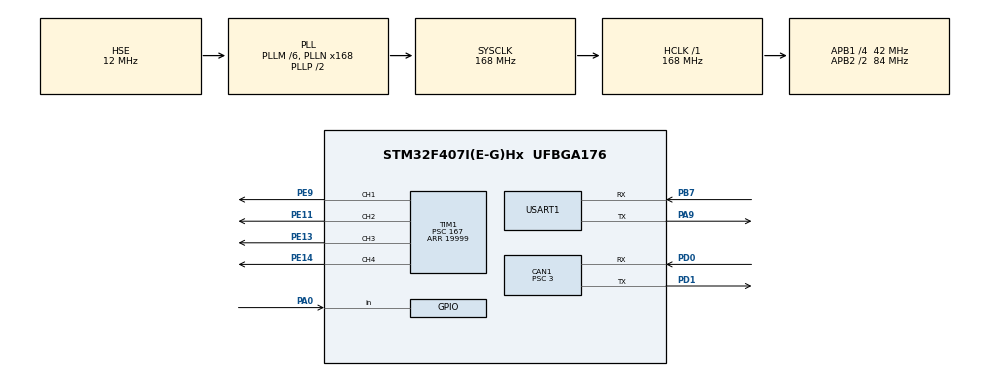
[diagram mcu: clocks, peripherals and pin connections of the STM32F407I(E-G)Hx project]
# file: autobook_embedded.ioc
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CAN1.BS1=CAN_BS1_10TQ
CAN1.BS2=CAN_BS2_3TQ
CAN1.CalculateBaudRate=1000000
CAN1.CalculateTimeBit=1000
CAN1.CalculateTimeQuantum=71.42857142857143
CAN1.Prescaler=3
Dma.Request0=USART1_RX
Dma.USART1_RX.0.Direction=DMA_PERIPH_TO_MEMORY
Dma.USART1_RX.0.FIFOMode=DMA_FIFOMODE_DISABLE
Dma.USART1_RX.0.Instance=DMA2_Stream2
Dma.USART1_RX.0.MemDataAlignment=DMA_MDATAALIGN_BYTE
Dma.USART1_RX.0.MemInc=DMA_MINC_ENABLE
Dma.USART1_RX.0.Mode=DMA_NORMAL
Dma.USART1_RX.0.PeriphDataAlignment=DMA_PDATAALIGN_BYTE
Dma.USART1_RX.0.PeriphInc=DMA_PINC_DISABLE
Dma.USART1_RX.0.Priority=DMA_PRIORITY_LOW
FREERTOS.Tasks01=LibraryHandler,32,512,StartLibraryHandler,Default,NULL,Dynamic,NULL,NULL;MainTask,24,2048,StartMainTask,Default,NULL,Dynamic,NULL,NULL;UartTast,8,128,StartUartTask,Default,NULL,Dynamic,NULL,NULL
Mcu.Family=STM32F4
Mcu.Name=STM32F407I(E-G)Hx
Mcu.Package=UFBGA176
NVIC.CAN1_RX0_IRQn=true\:5\:0\:false\:false\:true\:true\:true\:true\:true
NVIC.DMA2_Stream2_IRQn=true\:5\:0\:false\:false\:true\:true\:false\:true\:true
NVIC.PriorityGroup=NVIC_PRIORITYGROUP_4
NVIC.USART1_IRQn=true\:5\:0\:false\:false\:true\:true\:true\:true\:true
PA0-WKUP.GPIO_PuPd=GPIO_PULLUP
PA0-WKUP.Signal=GPIO_Input
PA9.Mode=Asynchronous
PA9.Signal=USART1_TX
PB7.Mode=Asynchronous
PB7.Signal=USART1_RX
PD0.Mode=CAN_Activate
PD0.Signal=CAN1_RX
PD1.Mode=CAN_Activate
PD1.Signal=CAN1_TX
PE11.Signal=S_TIM1_CH2
PE13.Signal=S_TIM1_CH3
PE14.Signal=S_TIM1_CH4
PE9.Signal=S_TIM1_CH1
PH0-OSC_IN.Mode=HSE-External-Oscillator
PH0-OSC_IN.Signal=RCC_OSC_IN
PH1-OSC_OUT.Mode=HSE-External-Oscillator
PH1-OSC_OUT.Signal=RCC_OSC_OUT
ProjectManager.HeapSize=0x200
ProjectManager.StackSize=0x400
ProjectManager.TargetToolchain=STM32CubeIDE
RCC.48MHZClocksFreq_Value=84000000
RCC.AHBFreq_Value=168000000
RCC.APB1CLKDivider=RCC_HCLK_DIV4
RCC.APB1Freq_Value=42000000
RCC.APB1TimFreq_Value=84000000
RCC.APB2CLKDivider=RCC_HCLK_DIV2
RCC.APB2Freq_Value=84000000
RCC.APB2TimFreq_Value=168000000
RCC.CortexFreq_Value=168000000
RCC.HCLKFreq_Value=168000000
RCC.HSE_VALUE=12000000
RCC.HSI_VALUE=16000000
RCC.LSE_VALUE=32768
RCC.PLLM=6
RCC.PLLN=168
RCC.PLLSourceVirtual=RCC_PLLSOURCE_HSE
RCC.SYSCLKFreq_VALUE=168000000
RCC.SYSCLKSource=RCC_SYSCLKSOURCE_PLLCLK
RCC.VCOOutputFreq_Value=336000000
SH.S_TIM1_CH1.0=TIM1_CH1,PWM Generation1 CH1
SH.S_TIM1_CH2.0=TIM1_CH2,PWM Generation2 CH2
SH.S_TIM1_CH3.0=TIM1_CH3,PWM Generation3 CH3
SH.S_TIM1_CH4.0=TIM1_CH4,PWM Generation4 CH4
TIM1.AutoReloadPreload=TIM_AUTORELOAD_PRELOAD_ENABLE
TIM1.Channel-PWM\ Generation1\ CH1=TIM_CHANNEL_1
TIM1.Channel-PWM\ Generation2\ CH2=TIM_CHANNEL_2
TIM1.Channel-PWM\ Generation3\ CH3=TIM_CHANNEL_3
TIM1.Channel-PWM\ Generation4\ CH4=TIM_CHANNEL_4
TIM1.Period=19999
TIM1.Prescaler=167
USART1.VirtualMode=VM_ASYNC
VP_FREERTOS_VS_CMSIS_V2.Mode=CMSIS_V2
board=custom

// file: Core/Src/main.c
/* USER CODE BEGIN Header */
/**
  ******************************************************************************
  * @file           : main.c
  * @brief          : Main program body
  ******************************************************************************
  * @attention
  *
  * Copyright (c) 2026 STMicroelectronics.
  * All rights reserved.
  *
  * This software is licensed under terms that can be found in the LICENSE file
  * in the root directory of this software component.
  * If no LICENSE file comes with this software, it is provided AS-IS.
  *
  ******************************************************************************
  */
/* USER CODE END Header */
#include "main.h"
#include "cmsis_os.h"

/* USER CODE BEGIN Includes */
#include "gm6020.h"
#include "FreeRTOS.h"
#include "task.h"

/* USER CODE END Includes */

/* USER CODE BEGIN PTD */
typedef enum {
  BOOK_STATE_1 = 1,
  BOOK_STATE_2 = 2,
  BOOK_STATE_3 = 3,
  BOOK_STATE_4 = 4,
  BOOK_STATE_5 = 5,
  BOOK_STATE_6 = 6,
  BOOK_STATE_7 = 7
} BookDeviceState;

typedef struct {
  uint32_t command;
  uint32_t requestId;
} BookUartCommand;

typedef struct {
  uint32_t requestId;
  const char *status;
  const char *reason;
} BookUartStatus;

/* USER CODE END PTD */

/* USER CODE BEGIN PD */
#define BOOK_UART_RUN_COMMAND 50U
/* Independently tune each automatic transition delay (milliseconds). */
#define BOOK_STATE_2_TO_3_MS 1000U
#define BOOK_STATE_3_TO_4_MS 1000U
#define BOOK_STATE_4_TO_5_MS 1000U
#define BOOK_STATE_5_TO_6_MS 1000U
#define BOOK_UART_RX_BUFFER_SIZE 128U
#define BOOK_UART_STATUS_CAPACITY 16U

/* USER CODE END PD */

CAN_HandleTypeDef hcan1;

TIM_HandleTypeDef htim1;

UART_HandleTypeDef huart1;
DMA_HandleTypeDef hdma_usart1_rx;

/* Definitions for LibraryHandler */
osThreadId_t LibraryHandlerHandle;
const osThreadAttr_t LibraryHandler_attributes = {
  .name = "LibraryHandler",
  .stack_size = 512 * 4,
  .priority = (osPriority_t) osPriorityAboveNormal,
};
/* Definitions for MainTask */
osThreadId_t MainTaskHandle;
const osThreadAttr_t MainTask_attributes = {
  .name = "MainTask",
  .stack_size = 2048 * 4,
  .priority = (osPriority_t) osPriorityNormal,
};
/* Definitions for UartTast */
osThreadId_t UartTastHandle;
const osThreadAttr_t UartTast_attributes = {
  .name = "UartTast",
  .stack_size = 256 * 4,
  .priority = (osPriority_t) osPriorityLow,
};
/* USER CODE BEGIN PV */
volatile bool bookSequenceActive = false;
volatile bool bookSequenceStartRejected = false;
volatile uint32_t bookLastUartCommand = 0;
static uint32_t bookSequenceStateStartedMs;
static uint32_t bookSequenceRequestId;
static BookUartStatus bookUartStatusQueue[BOOK_UART_STATUS_CAPACITY];
static uint8_t bookUartStatusHead, bookUartStatusTail, bookUartStatusCount;
static bool bookUartTxNeedsResync;
static uint8_t bookUartRxByte;
static volatile uint8_t bookUartRxBuffer[BOOK_UART_RX_BUFFER_SIZE];
static volatile uint16_t bookUartRxHead, bookUartRxTail;
static volatile bool bookUartRxOverflow, bookUartRxNeedsRearm;
volatile uint32_t bookUartRxErrors = 0;
volatile BookDeviceState bookDeviceState = BOOK_STATE_1;
volatile bool bookStateActionAccepted = true;
/* Watch these in the debugger while tuning the clamp. Raw counts, not N*m. */
volatile int16_t clampExampleCurrentRaw = 0;
volatile uint16_t clampExamplePeakRaw = 0;
volatile GM6020_ClampState clampExampleState = GM6020_CLAMP_IDLE;
volatile bool clampExampleStarted = false;
volatile bool clampExampleStartRejected = false;
volatile bool clampExampleFinished = false;
volatile float clampExampleTargetRPM = 0.0f;

/* USER CODE END PV */

void SystemClock_Config(void);
static void MX_GPIO_Init(void);
static void MX_DMA_Init(void);
static void MX_CAN1_Init(void);
static void MX_USART1_UART_Init(void);
static void MX_TIM1_Init(void);
void StartLibraryHandler(void *argument);
void StartMainTask(void *argument);
void StartUartTask(void *argument);

/* USER CODE BEGIN PFP */
static bool RunBookClamp(float closingRPM);
static void UpdateBookClampStatus(void);
static void EnterBookState(BookDeviceState state);
static bool ReadUartCommand(BookUartCommand *command);
static void ServiceBookSequence(uint32_t now);

/* USER CODE END PFP */

int main(void)
{

  /* MCU Configuration--------------------------------------------------------*/

  /* Reset of all peripherals, Initializes the Flash interface and the Systick. */
  HAL_Init();

  /* Configure the system clock */
  SystemClock_Config();

  /* Initialize all configured peripherals */
  MX_GPIO_Init();
  MX_DMA_Init();
  MX_CAN1_Init();
  MX_USART1_UART_Init();
  MX_TIM1_Init();
  /* USER CODE BEGIN 2 */
  if (GM6020_InitBus(1, &hcan1, GM6020_VOLTAGE) != HAL_OK)
  {
    Error_Handler();
  }

  /* One-byte interrupt reception stays active while UART TX runs. */
  if (HAL_UART_Receive_IT(&huart1, &bookUartRxByte, 1) != HAL_OK)
    Error_Handler();
  /* USER CODE END 2 */

  /* Init scheduler */
  osKernelInitialize();

  /* Create the thread(s) */
  /* creation of LibraryHandler */
  LibraryHandlerHandle = osThreadNew(StartLibraryHandler, NULL, &LibraryHandler_attributes);

  /* creation of MainTask */
  MainTaskHandle = osThreadNew(StartMainTask, NULL, &MainTask_attributes);

  /* creation of UartTast */
  UartTastHandle = osThreadNew(StartUartTask, NULL, &UartTast_attributes);

  /* Start scheduler */
  osKernelStart();

  /* We should never get here as control is now taken by the scheduler */

  /* Infinite loop */
  while (1)
  {

  }
}

void SystemClock_Config(void)
{
  RCC_OscInitTypeDef RCC_OscInitStruct = {0};
  RCC_ClkInitTypeDef RCC_ClkInitStruct = {0};

  /** Configure the main internal regulator output voltage
  */
  __HAL_RCC_PWR_CLK_ENABLE();
  __HAL_PWR_VOLTAGESCALING_CONFIG(PWR_REGULATOR_VOLTAGE_SCALE1);

  /** Initializes the RCC Oscillators according to the specified parameters
  * in the RCC_OscInitTypeDef structure.
  */
  RCC_OscInitStruct.OscillatorType = RCC_OSCILLATORTYPE_HSE;
  RCC_OscInitStruct.HSEState = RCC_HSE_ON;
  RCC_OscInitStruct.PLL.PLLState = RCC_PLL_ON;
  RCC_OscInitStruct.PLL.PLLSource = RCC_PLLSOURCE_HSE;
  RCC_OscInitStruct.PLL.PLLM = 6;
  RCC_OscInitStruct.PLL.PLLN = 168;
  RCC_OscInitStruct.PLL.PLLP = RCC_PLLP_DIV2;
  RCC_OscInitStruct.PLL.PLLQ = 4;
  if (HAL_RCC_OscConfig(&RCC_OscInitStruct) != HAL_OK)
  {
    Error_Handler();
  }

  /** Initializes the CPU, AHB and APB buses clocks
  */
  RCC_ClkInitStruct.ClockType = RCC_CLOCKTYPE_HCLK|RCC_CLOCKTYPE_SYSCLK
                              |RCC_CLOCKTYPE_PCLK1|RCC_CLOCKTYPE_PCLK2;
  RCC_ClkInitStruct.SYSCLKSource = RCC_SYSCLKSOURCE_PLLCLK;
  RCC_ClkInitStruct.AHBCLKDivider = RCC_SYSCLK_DIV1;
  RCC_ClkInitStruct.APB1CLKDivider = RCC_HCLK_DIV4;
  RCC_ClkInitStruct.APB2CLKDivider = RCC_HCLK_DIV2;

  if (HAL_RCC_ClockConfig(&RCC_ClkInitStruct, FLASH_LATENCY_5) != HAL_OK)
  {
    Error_Handler();
  }
}

static void MX_CAN1_Init(void)
{

  hcan1.Instance = CAN1;
  hcan1.Init.Prescaler = 3;
  hcan1.Init.Mode = CAN_MODE_NORMAL;
  hcan1.Init.SyncJumpWidth = CAN_SJW_1TQ;
  hcan1.Init.TimeSeg1 = CAN_BS1_10TQ;
  hcan1.Init.TimeSeg2 = CAN_BS2_3TQ;
  hcan1.Init.TimeTriggeredMode = DISABLE;
  hcan1.Init.AutoBusOff = DISABLE;
  hcan1.Init.AutoWakeUp = DISABLE;
  hcan1.Init.AutoRetransmission = DISABLE;
  hcan1.Init.ReceiveFifoLocked = DISABLE;
  hcan1.Init.TransmitFifoPriority = DISABLE;
  if (HAL_CAN_Init(&hcan1) != HAL_OK)
  {
    Error_Handler();
  }

}

static void MX_TIM1_Init(void)
{

  TIM_MasterConfigTypeDef sMasterConfig = {0};
  TIM_OC_InitTypeDef sConfigOC = {0};
  TIM_BreakDeadTimeConfigTypeDef sBreakDeadTimeConfig = {0};

  htim1.Instance = TIM1;
  htim1.Init.Prescaler = 167;
  htim1.Init.CounterMode = TIM_COUNTERMODE_UP;
  htim1.Init.Period = 19999;
  htim1.Init.ClockDivision = TIM_CLOCKDIVISION_DIV1;
  htim1.Init.RepetitionCounter = 0;
  htim1.Init.AutoReloadPreload = TIM_AUTORELOAD_PRELOAD_ENABLE;
  if (HAL_TIM_PWM_Init(&htim1) != HAL_OK)
  {
    Error_Handler();
  }
  sMasterConfig.MasterOutputTrigger = TIM_TRGO_RESET;
  sMasterConfig.MasterSlaveMode = TIM_MASTERSLAVEMODE_DISABLE;
  if (HAL_TIMEx_MasterConfigSynchronization(&htim1, &sMasterConfig) != HAL_OK)
  {
    Error_Handler();
  }
  sConfigOC.OCMode = TIM_OCMODE_PWM1;
  sConfigOC.Pulse = 0;
  sConfigOC.OCPolarity = TIM_OCPOLARITY_HIGH;
  sConfigOC.OCNPolarity = TIM_OCNPOLARITY_HIGH;
  sConfigOC.OCFastMode = TIM_OCFAST_DISABLE;
  sConfigOC.OCIdleState = TIM_OCIDLESTATE_RESET;
  sConfigOC.OCNIdleState = TIM_OCNIDLESTATE_RESET;
  if (HAL_TIM_PWM_ConfigChannel(&htim1, &sConfigOC, TIM_CHANNEL_1) != HAL_OK)
  {
    Error_Handler();
  }
  if (HAL_TIM_PWM_ConfigChannel(&htim1, &sConfigOC, TIM_CHANNEL_2) != HAL_OK)
  {
    Error_Handler();
  }
  if (HAL_TIM_PWM_ConfigChannel(&htim1, &sConfigOC, TIM_CHANNEL_3) != HAL_OK)
  {
    Error_Handler();
  }
  if (HAL_TIM_PWM_ConfigChannel(&htim1, &sConfigOC, TIM_CHANNEL_4) != HAL_OK)
  {
    Error_Handler();
  }
  sBreakDeadTimeConfig.OffStateRunMode = TIM_OSSR_DISABLE;
  sBreakDeadTimeConfig.OffStateIDLEMode = TIM_OSSI_DISABLE;
  sBreakDeadTimeConfig.LockLevel = TIM_LOCKLEVEL_OFF;
  sBreakDeadTimeConfig.DeadTime = 0;
  sBreakDeadTimeConfig.BreakState = TIM_BREAK_DISABLE;
  sBreakDeadTimeConfig.BreakPolarity = TIM_BREAKPOLARITY_HIGH;
  sBreakDeadTimeConfig.AutomaticOutput = TIM_AUTOMATICOUTPUT_DISABLE;
  if (HAL_TIMEx_ConfigBreakDeadTime(&htim1, &sBreakDeadTimeConfig) != HAL_OK)
  {
    Error_Handler();
  }
  HAL_TIM_MspPostInit(&htim1);

}

static void MX_USART1_UART_Init(void)
{

  huart1.Instance = USART1;
  huart1.Init.BaudRate = 115200;
  huart1.Init.WordLength = UART_WORDLENGTH_8B;
  huart1.Init.StopBits = UART_STOPBITS_1;
  huart1.Init.Parity = UART_PARITY_NONE;
  huart1.Init.Mode = UART_MODE_TX_RX;
  huart1.Init.HwFlowCtl = UART_HWCONTROL_NONE;
  huart1.Init.OverSampling = UART_OVERSAMPLING_16;
  if (HAL_UART_Init(&huart1) != HAL_OK)
  {
    Error_Handler();
  }

}

static void MX_DMA_Init(void)
{

  /* DMA controller clock enable */
  __HAL_RCC_DMA2_CLK_ENABLE();

  /* DMA interrupt init */
  /* DMA2_Stream2_IRQn interrupt configuration */
  HAL_NVIC_SetPriority(DMA2_Stream2_IRQn, 5, 0);
  HAL_NVIC_EnableIRQ(DMA2_Stream2_IRQn);

}

static void MX_GPIO_Init(void)
{
  GPIO_InitTypeDef GPIO_InitStruct = {0};

  /* GPIO Ports Clock Enable */
  __HAL_RCC_GPIOB_CLK_ENABLE();
  __HAL_RCC_GPIOD_CLK_ENABLE();
  __HAL_RCC_GPIOA_CLK_ENABLE();
  __HAL_RCC_GPIOH_CLK_ENABLE();
  __HAL_RCC_GPIOE_CLK_ENABLE();

  /*Configure GPIO pin : PA0 */
  GPIO_InitStruct.Pin = GPIO_PIN_0;
  GPIO_InitStruct.Mode = GPIO_MODE_INPUT;
  GPIO_InitStruct.Pull = GPIO_PULLUP;
  HAL_GPIO_Init(GPIOA, &GPIO_InitStruct);

}

/* USER CODE BEGIN 4 */
/* Book clamp helpers: no button handling or direction toggling here. */
static bool RunBookClamp(float closingRPM)
{
  const float pid[3] = {55.0f, 0.01f, 0.0f};
  const GM6020_ClampConfig config = {
    .threshold_raw = 2500,
    .confirm_ms = 5,
    .max_run_ms = 3000,   /* 3-second closure limit. */
    .command_limit = 10000
  };
  const bool started = start6020Clamp(1, 2, closingRPM, pid, &config);
  clampExampleStartRejected = !started;
  if (started)
  {
    clampExampleStarted = true;
    clampExampleFinished = false;
    clampExampleState = GM6020_CLAMP_RUNNING;
    clampExamplePeakRaw = 0;
    clampExampleTargetRPM = closingRPM;
  }
  else if (!clampExampleStarted)
  {
    (void)stop6020(1, 2);
    clampExampleState = GM6020_CLAMP_STOPPED;
    clampExampleFinished = true;
  }
  /* A rejected restart preserves the previous run/stop and its debug state. */
  return started;
}

static void UpdateBookClampStatus(void)
{
  GM6020_Feedback feedback;
  if (get6020Feedback(1, 2, &feedback) && feedback.online)
    clampExampleCurrentRaw = feedback.current_raw;
  if (clampExampleStarted)
  {
    GM6020_ClampStatus status;
    if (get6020ClampStatus(1, 2, &status))
    {
      clampExampleState = status.state;
      clampExamplePeakRaw = status.peak_current_raw;
      clampExampleFinished = status.state != GM6020_CLAMP_RUNNING;
    }
  }
}

/* Apply outputs once on entry. Button handling remains in MainTask.
 * State 2 starts a guarded +60 RPM run; contact/faults do not advance state. */
static void EnterBookState(BookDeviceState state)
{
  uint16_t pulse1, pulse2, pulse3, pulse4;
  switch (state)
  {
    case BOOK_STATE_2:
      pulse1 = 2100, pulse2 = 1600; pulse3 = 1400; pulse4 = 800; // side servos clamp down on book
      break;
    case BOOK_STATE_3:
      pulse1 = 1000, pulse2 = 1600; pulse3 = 1400; pulse4 = 800; // page gripping servo exposes a page
      break;
    case BOOK_STATE_4:
      pulse1 = 1000, pulse2 = 1600; pulse3 = 1400; pulse4 = 1800; // wiper servo flips the page
      break;
    case BOOK_STATE_5:
      pulse1 = 1000, pulse2 = 1600; pulse3 = 2100; pulse4 = 1800; //the outer page gripping servo opens up
      break;
    case BOOK_STATE_6:
      pulse1 = 1000, pulse2 = 1600; pulse3 = 1400; pulse4 = 1800; // ... then clamps down on the new page
      break;
    case BOOK_STATE_1:
    default:
      state = BOOK_STATE_1; // Initial position, all servos opened up
      pulse1 = 2100, pulse2 = 1200; pulse3 = 1800; pulse4 = 800;
      break;
  }

  if (state != BOOK_STATE_2)
  {
    bookStateActionAccepted = stop6020(1, 2);
    clampExampleStarted = false;
    clampExampleStartRejected = false;
    clampExampleFinished = true;
    clampExampleTargetRPM = 0.0f;
    clampExampleState = GM6020_CLAMP_STOPPED;
  }

  __HAL_TIM_SET_COMPARE(&htim1, TIM_CHANNEL_1, pulse1);
  __HAL_TIM_SET_COMPARE(&htim1, TIM_CHANNEL_2, pulse2);
  __HAL_TIM_SET_COMPARE(&htim1, TIM_CHANNEL_3, pulse3);
  __HAL_TIM_SET_COMPARE(&htim1, TIM_CHANNEL_4, pulse4);
  bookDeviceState = state;

  if (state == BOOK_STATE_2)
    bookStateActionAccepted = RunBookClamp(60.0f);
}

static bool CanReadBookCommand(void)
{
  taskENTER_CRITICAL();
  /* Keep a terminal reply slot available throughout an accepted sequence. */
  const bool available = bookUartStatusCount <= BOOK_UART_STATUS_CAPACITY - 2U;
  taskEXIT_CRITICAL();
  return available;
}

static void QueueBookStatus(const char *status, uint32_t requestId, const char *reason)
{
  const BookUartStatus message = {requestId, status, reason};
  taskENTER_CRITICAL();
  bookUartStatusQueue[bookUartStatusHead] = message;
  bookUartStatusHead = (uint8_t)((bookUartStatusHead + 1U) % BOOK_UART_STATUS_CAPACITY);
  ++bookUartStatusCount;
  taskEXIT_CRITICAL();
}

static void HandleBookCommand(const BookUartCommand *command)
{
  bookLastUartCommand = command->command;
  if (command->command != BOOK_UART_RUN_COMMAND) return;
  if (bookSequenceActive)
  {
    QueueBookStatus("BUSY", command->requestId, NULL);
    return;
  }
  EnterBookState(BOOK_STATE_2);
  bookSequenceStartRejected = !bookStateActionAccepted;
  bookSequenceActive = bookStateActionAccepted;
  bookSequenceStateStartedMs = HAL_GetTick();
  bookSequenceRequestId = command->requestId;
  QueueBookStatus(bookSequenceActive ? "ACK" : "ERROR", command->requestId,
                  bookSequenceActive ? NULL : "START_REJECTED");
}

static const char *BookClampFailure(void)
{
  GM6020_ClampStatus status;
  if (!get6020ClampStatus(1, 2, &status)) return "FEEDBACK_LOST";
  switch (status.state)
  {
    case GM6020_CLAMP_FEEDBACK_LOST: return "FEEDBACK_LOST";
    case GM6020_CLAMP_TIMEOUT: return "TIMEOUT";
    case GM6020_CLAMP_SERVICE_LATE: return "SERVICE_LATE";
    default: return NULL;
  }
}

static void AbortBookSequence(const char *reason)
{
  (void)stop6020(1, 2);
  bookSequenceActive = false;
  QueueBookStatus("ERROR", bookSequenceRequestId, reason);
}

/* Start/service the automatic sequence only from MainTask. */
static void ServiceBookSequence(uint32_t now)
{
  if (!bookSequenceActive) return;

  if (bookDeviceState == BOOK_STATE_2)
  {
    const char *reason = BookClampFailure();
    if (reason != NULL)
    {
      AbortBookSequence(reason);
      return;
    }
  }

  uint32_t delayMs;
  switch (bookDeviceState)
  {
    case BOOK_STATE_2: delayMs = BOOK_STATE_2_TO_3_MS; break;
    case BOOK_STATE_3: delayMs = BOOK_STATE_3_TO_4_MS; break;
    case BOOK_STATE_4: delayMs = BOOK_STATE_4_TO_5_MS; break;
    case BOOK_STATE_5: delayMs = BOOK_STATE_5_TO_6_MS; break;
    default: AbortBookSequence("INVALID_STATE"); return;
  }
  if ((uint32_t)(now - bookSequenceStateStartedMs) < delayMs) return;

  /* Timer-only transitions. State 3 stops drive before changing servo outputs. */
  if (bookDeviceState == BOOK_STATE_2)
  {
    /* Do not let the motor service set a fault between the check and stop. */
    taskENTER_CRITICAL();
    const char *reason = BookClampFailure();
    if (reason == NULL) EnterBookState(BOOK_STATE_3);
    taskEXIT_CRITICAL();
    if (reason != NULL) { AbortBookSequence(reason); return; }
  }
  else EnterBookState((BookDeviceState)(bookDeviceState + 1));
  bookSequenceStateStartedMs = HAL_GetTick();
  if (!bookStateActionAccepted) AbortBookSequence("STOP_REJECTED");
  else if (bookDeviceState == BOOK_STATE_6)
  {
    bookSequenceActive = false;
    QueueBookStatus("DONE", bookSequenceRequestId, NULL);
  }
}

/* UART command input: command and optional request ID, terminated by CR or LF.
 * Call from exactly one task. No blocking receive or heap allocation.
 * Invalid/overflowed lines are discarded in full, rather than partly parsed. */
static bool ReadUartCommand(BookUartCommand *command)
{
  static uint32_t parsed, parsedCommand;
  static uint8_t digits;
  static bool discardLine, readingId;
  if (command == NULL) return false;

  /* Recover interrupt reception after a HAL error without blocking a task. */
  taskENTER_CRITICAL();
  if (bookUartRxNeedsRearm &&
      HAL_UART_Receive_IT(&huart1, &bookUartRxByte, 1) == HAL_OK)
    bookUartRxNeedsRearm = false;
  taskEXIT_CRITICAL();

  for (unsigned n = 0; n < BOOK_UART_RX_BUFFER_SIZE; ++n)
  {
    uint8_t byte;
    taskENTER_CRITICAL();
    if (bookUartRxOverflow)
    {
      /* Flush queued fragments. Resume after the next received line ending. */
      bookUartRxTail = bookUartRxHead;
      bookUartRxOverflow = false;
      parsed = 0; parsedCommand = 0; digits = 0; readingId = false; discardLine = true;
    }
    if (bookUartRxTail == bookUartRxHead)
    {
      taskEXIT_CRITICAL();
      return false;
    }
    byte = bookUartRxBuffer[bookUartRxTail];
    bookUartRxTail = (uint16_t)((bookUartRxTail + 1U) % BOOK_UART_RX_BUFFER_SIZE);
    taskEXIT_CRITICAL();

    if (byte == '\r' || byte == '\n')
    {
      const bool accepted = digits != 0 && !discardLine;
      const BookUartCommand result = {readingId ? parsedCommand : parsed,
                                      readingId ? parsed : 0U};
      parsed = 0; parsedCommand = 0; digits = 0; discardLine = false; readingId = false;
      if (accepted) { *command = result; return true; }
    }
    else if (!discardLine)
    {
      if (byte == ' ' && digits != 0U && !readingId)
      {
        parsedCommand = parsed; parsed = 0; digits = 0; readingId = true;
      }
      else if (byte < '0' || byte > '9' || digits >= 10U ||
          parsed > (UINT32_MAX - (uint32_t)(byte - '0')) / 10U)
        discardLine = true;
      else { parsed = parsed * 10U + (uint32_t)(byte - '0'); ++digits; }
    }
  }
  return false;
}

void HAL_UART_RxCpltCallback(UART_HandleTypeDef *uart)
{
  if (uart != &huart1) return;
  const uint16_t next = (uint16_t)((bookUartRxHead + 1U) % BOOK_UART_RX_BUFFER_SIZE);
  if (next == bookUartRxTail) bookUartRxOverflow = true;
  else
  {
    bookUartRxBuffer[bookUartRxHead] = bookUartRxByte;
    bookUartRxHead = next;
  }
  bookUartRxNeedsRearm = HAL_UART_Receive_IT(uart, &bookUartRxByte, 1) != HAL_OK;
}

void HAL_UART_ErrorCallback(UART_HandleTypeDef *uart)
{
  if (uart != &huart1) return;
  ++bookUartRxErrors;
  bookUartRxOverflow = true; /* Drop a command potentially corrupted by error. */
  bookUartRxNeedsRearm = HAL_UART_Receive_IT(uart, &bookUartRxByte, 1) != HAL_OK;
}

void HAL_CAN_RxFifo0MsgPendingCallback(CAN_HandleTypeDef *can)
{
  CAN_RxHeaderTypeDef header;
  uint8_t data[8];
  while (HAL_CAN_GetRxFifoFillLevel(can, CAN_RX_FIFO0) != 0)
  {
    if (HAL_CAN_GetRxMessage(can, CAN_RX_FIFO0, &header, data) != HAL_OK) break;
    GM6020_OnRx(can, &header, data);
  }
}

uint16_t motorPos;

/* USER CODE END 4 */

void StartLibraryHandler(void *argument)
{
  /* USER CODE BEGIN 5 */
  TickType_t wake = xTaskGetTickCount();
  for (;;)
  {
    GM6020_Service();
    vTaskDelayUntil(&wake, pdMS_TO_TICKS(1));
  }
  /* USER CODE END 5 */
}

void StartMainTask(void *argument)
{
  /* USER CODE BEGIN StartMainTask */
  (void)argument;

  /* Load state 1 pulses before enabling the outputs; no clamp motion at boot. */
  EnterBookState(BOOK_STATE_1);
  if (HAL_TIM_PWM_Start(&htim1, TIM_CHANNEL_1) != HAL_OK ||
      HAL_TIM_PWM_Start(&htim1, TIM_CHANNEL_2) != HAL_OK ||
      HAL_TIM_PWM_Start(&htim1, TIM_CHANNEL_3) != HAL_OK ||
      HAL_TIM_PWM_Start(&htim1, TIM_CHANNEL_4) != HAL_OK)
    Error_Handler();

  /* PA0 pull-up: LOW is pressed. Ignore a button held during startup. */
  bool buttonSample = HAL_GPIO_ReadPin(GPIOA, GPIO_PIN_0) == GPIO_PIN_RESET;
  bool buttonStable = buttonSample;
  uint32_t buttonChangedMs = HAL_GetTick();

  for (;;)
  {
    const uint32_t now = HAL_GetTick();
    motorPos = get6020Pos(1, 2);
    BookUartCommand command;
    while (CanReadBookCommand() && ReadUartCommand(&command))
      HandleBookCommand(&command);
    ServiceBookSequence(HAL_GetTick());
    const bool pressed = HAL_GPIO_ReadPin(GPIOA, GPIO_PIN_0) == GPIO_PIN_RESET;
    if (pressed != buttonSample)
    {
      buttonSample = pressed;
      buttonChangedMs = now;
    }
    if (buttonSample != buttonStable && (uint32_t)(now - buttonChangedMs) >= 30U)
    {
      buttonStable = buttonSample;
      if (buttonStable && !bookSequenceActive)
      {
        /* Manual steps are ignored while the UART sequence runs. */
        const BookDeviceState next = bookDeviceState == BOOK_STATE_6 ?
            BOOK_STATE_2 : (BookDeviceState)(bookDeviceState + 1);
        EnterBookState(next);
      }
    }

    UpdateBookClampStatus();
    osDelay(5);
  }
  /* USER CODE END StartMainTask */
}

void StartUartTask(void *argument)
{
  /* USER CODE BEGIN StartUartTask */
  (void)argument;
  char uartBuff[64];
  /* Infinite loop */
  for(;;)
  {
    BookUartStatus message;
    taskENTER_CRITICAL();
    const bool hasStatus = bookUartStatusCount != 0U;
    if (hasStatus) message = bookUartStatusQueue[bookUartStatusTail];
    taskEXIT_CRITICAL();

    int length;
    if (hasStatus)
      length = snprintf(uartBuff, sizeof(uartBuff), "%s %lu%s%s\r\n",
                        message.status, (unsigned long)message.requestId,
                        message.reason != NULL ? " " : "",
                        message.reason != NULL ? message.reason : "");
    else if (motorPos == GM6020_INVALID_POSITION)
      length = snprintf(uartBuff, sizeof(uartBuff), "offline\r\n");
    else
      length = snprintf(uartBuff, sizeof(uartBuff), "%u\r\n", (unsigned)motorPos);

    if (length > 0 && (size_t)length < sizeof(uartBuff))
    {
      /* A failed blocking TX may leave a partial line on the host. */
      if (bookUartTxNeedsResync)
        bookUartTxNeedsResync = HAL_UART_Transmit(&huart1, (uint8_t *)"\r\n", 2, 10) != HAL_OK;
      if (!bookUartTxNeedsResync)
      {
        bookUartTxNeedsResync = HAL_UART_Transmit(&huart1, (uint8_t *)uartBuff,
                                                (uint16_t)length, 10) != HAL_OK;
        if (hasStatus && !bookUartTxNeedsResync)
        {
          taskENTER_CRITICAL();
          bookUartStatusTail = (uint8_t)((bookUartStatusTail + 1U) % BOOK_UART_STATUS_CAPACITY);
          --bookUartStatusCount;
          taskEXIT_CRITICAL();
        }
      }
    }
    osDelay(10);
  }
  /* USER CODE END StartUartTask */
}

void Error_Handler(void)
{
  __disable_irq();
  while (1)
  {
  }
}
